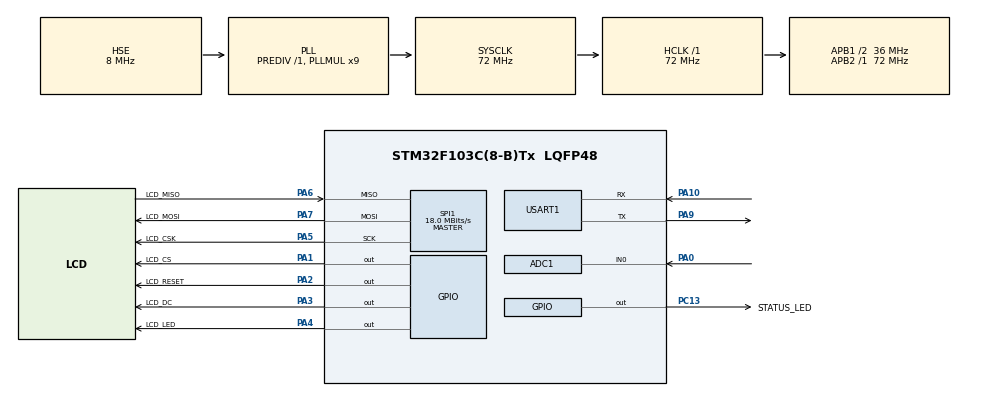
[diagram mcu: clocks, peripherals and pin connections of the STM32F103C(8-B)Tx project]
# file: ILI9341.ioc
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ADC1.Channel-0\#ChannelRegularConversion=ADC_CHANNEL_0
ADC1.ContinuousConvMode=DISABLE
ADC1.DataAlign=ADC_DATAALIGN_RIGHT
ADC1.DiscontinuousConvMode=DISABLE
ADC1.EnableAnalogWatchDog=false
ADC1.EnableRegularConversion=ENABLE
ADC1.ExternalTrigConv=ADC_EXTERNALTRIGCONV_T3_TRGO
ADC1.InjNumberOfConversion=0
ADC1.NbrOfConversion=1
ADC1.NbrOfConversionFlag=1
ADC1.Rank-0\#ChannelRegularConversion=1
ADC1.SamplingTime-0\#ChannelRegularConversion=ADC_SAMPLETIME_1CYCLE_5
ADC1.ScanConvMode=ADC_SCAN_DISABLE
ADC1.master=1
Dma.Request0=SPI1_TX
Dma.SPI1_TX.0.Direction=DMA_MEMORY_TO_PERIPH
Dma.SPI1_TX.0.Instance=DMA1_Channel3
Dma.SPI1_TX.0.MemDataAlignment=DMA_MDATAALIGN_BYTE
Dma.SPI1_TX.0.MemInc=DMA_MINC_ENABLE
Dma.SPI1_TX.0.Mode=DMA_NORMAL
Dma.SPI1_TX.0.PeriphDataAlignment=DMA_PDATAALIGN_BYTE
Dma.SPI1_TX.0.PeriphInc=DMA_PINC_DISABLE
Dma.SPI1_TX.0.Priority=DMA_PRIORITY_HIGH
Mcu.Family=STM32F1
Mcu.Name=STM32F103C(8-B)Tx
Mcu.Package=LQFP48
NVIC.DMA1_Channel3_IRQn=true\:0\:0\:false\:false\:true
NVIC.PriorityGroup=NVIC_PRIORITYGROUP_4
NVIC.TIM3_IRQn=true\:0\:0\:false\:false\:true
PA0-WKUP.Signal=ADCx_IN0
PA1.GPIO_Label=LCD_CS
PA1.Signal=GPIO_Output
PA10.Mode=Asynchronous
PA10.Signal=USART1_RX
PA13.Mode=Serial_Wire
PA13.Signal=SYS_JTMS-SWDIO
PA14.Mode=Serial_Wire
PA14.Signal=SYS_JTCK-SWCLK
PA2.GPIO_Label=LCD_RESET
PA2.PinState=GPIO_PIN_RESET
PA2.Signal=GPIO_Output
PA3.GPIO_Label=LCD_DC
PA3.PinState=GPIO_PIN_RESET
PA3.Signal=GPIO_Output
PA4.GPIO_Label=LCD_LED
PA4.Signal=GPIO_Output
PA5.GPIO_Label=LCD_CSK
PA5.Mode=Full_Duplex_Master
PA5.Signal=SPI1_SCK
PA6.GPIO_Label=LCD_MISO
PA6.Mode=Full_Duplex_Master
PA6.Signal=SPI1_MISO
PA7.GPIO_Label=LCD_MOSI
PA7.Mode=Full_Duplex_Master
PA7.Signal=SPI1_MOSI
PA9.Mode=Asynchronous
PA9.Signal=USART1_TX
PC13-TAMPER-RTC.GPIO_Label=STATUS_LED
PC13-TAMPER-RTC.Signal=GPIO_Output
PD0-OSC_IN.Mode=HSE-External-Oscillator
PD0-OSC_IN.Signal=RCC_OSC_IN
PD1-OSC_OUT.Mode=HSE-External-Oscillator
PD1-OSC_OUT.Signal=RCC_OSC_OUT
ProjectManager.HeapSize=0x200
ProjectManager.StackSize=0x400
ProjectManager.TargetToolchain=Makefile
RCC.ADCPresc=RCC_ADCPCLK2_DIV6
RCC.AHBFreq_Value=72000000
RCC.APB1CLKDivider=RCC_HCLK_DIV2
RCC.APB1Freq_Value=36000000
RCC.APB1TimFreq_Value=72000000
RCC.APB2Freq_Value=72000000
RCC.APB2TimFreq_Value=72000000
RCC.HCLKFreq_Value=72000000
RCC.PLLMUL=RCC_PLL_MUL9
RCC.PLLSourceVirtual=RCC_PLLSOURCE_HSE
RCC.SYSCLKFreq_VALUE=72000000
RCC.SYSCLKSource=RCC_SYSCLKSOURCE_PLLCLK
RCC.USBFreq_Value=72000000
SH.ADCx_IN0.0=ADC1_IN0,IN0
SPI1.BaudRatePrescaler=SPI_BAUDRATEPRESCALER_4
SPI1.CalculateBaudRate=18.0 MBits/s
SPI1.Direction=SPI_DIRECTION_2LINES
SPI1.Mode=SPI_MODE_MASTER
SPI1.VirtualType=VM_MASTER
TIM3.Period=10
TIM3.Prescaler=72-1
TIM3.TIM_MasterOutputTrigger=TIM_TRGO_UPDATE
USART1.VirtualMode=VM_ASYNC
VP_TIM3_VS_ClockSourceINT.Mode=Internal
board=ILI9341

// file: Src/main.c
#include "main.h"
#include "stm32f1xx_hal.h"
#include "adc.h"
#include "dma.h"
#include "spi.h"
#include "tim.h"
#include "usart.h"
#include "gpio.h"

/* USER CODE BEGIN Includes */
#include <math.h>
#include "ILI9341.h"

#define M_PI 3.14159

void stled_on(void)
{
  HAL_GPIO_WritePin(STATUS_LED_GPIO_Port, STATUS_LED_Pin, GPIO_PIN_SET);
}

void stled_off(void)
{
  HAL_GPIO_WritePin(STATUS_LED_GPIO_Port, STATUS_LED_Pin, GPIO_PIN_RESET);
}

/* USER CODE END Includes */

/* USER CODE BEGIN PV */
/* Private variables ---------------------------------------------------------*/

/* USER CODE END PV */

void SystemClock_Config(void);

/* USER CODE BEGIN PFP */
/* Private function prototypes -----------------------------------------------*/

/* USER CODE END PFP */

int main(void)
{

  /* USER CODE BEGIN 1 */
  uint32_t adcResult = 0;
  uint16_t adc_counter = 0;
  uint16_t coord_x[320];
  uint16_t coord_y[320];
  /* USER CODE END 1 */

  /* MCU Configuration----------------------------------------------------------*/

  /* Reset of all peripherals, Initializes the Flash interface and the Systick. */
  HAL_Init();

  /* Configure the system clock */
  SystemClock_Config();

  /* Initialize all configured peripherals */
  MX_GPIO_Init();
  MX_DMA_Init();
  MX_SPI1_Init();
  MX_USART1_UART_Init();
  MX_ADC1_Init();
  MX_TIM3_Init();

  /* USER CODE BEGIN 2 */
  lcd_reset();
  HAL_GPIO_WritePin(GPIOA, LCD_LED_Pin, GPIO_PIN_SET);
  ILI9341_begin(&hspi1);

  ILI9341_setRotation(0); // clear display & draw grid
  ILI9341_fillScreen(ILI9341_BLACK);
  ILI9341_setRotation(3);
  ILI9341_fillScreen(ILI9341_BLACK);
  for(uint16_t i = 5; i<315; i+=30) ILI9341_drawLine( i, 5, i, 235, ILI9341_WHITE);
  for(uint16_t i = 5; i<315; i+=30) ILI9341_drawLine( 5, i, 315, i, ILI9341_WHITE);

  /* USER CODE END 2 */

  /* Infinite loop */
  /* USER CODE BEGIN WHILE */
  HAL_TIM_Base_Init(&htim3);
  HAL_TIM_PeriodElapsedCallback(&htim3);
  HAL_TIM_Base_Start_IT(&htim3); //запустим таймер
  HAL_ADC_Start(&hadc1);//запустим аналогово-цифровое преобразование
  while (1)
  {
  /* USER CODE END WHILE */

  /* USER CODE BEGIN 3 */
    for(uint16_t i = 0; i < 320; i++) // clear display & redraw grid
    {
      if(i>318)
      {
        for(uint16_t i = 0; i < 320; i++)
        {
         ILI9341_drawLine(coord_x[i], coord_y[i],   coord_x[i-1], coord_y[i-1], ILI9341_BLACK); // (  x0,y0,x1,y1,color);
        }
        //ILI9341_fillScreen(ILI9341_BLACK);
        for(uint16_t i = 5; i<315; i+=30)
        {
          ILI9341_drawLine( i, 5, i, 235, ILI9341_WHITE);
        }
        for(uint16_t i = 5; i<315; i+=30)
        {
          ILI9341_drawLine( 5, i, 315, i, ILI9341_WHITE);
        }
      }

      while(adc_counter < 125) // Пока количество измерений меньше N
      {
        adcResult += HAL_ADC_GetValue(&hadc1);
        adc_counter++; // Увеличиваем счетчик измерений
      }
      coord_x[i] = i;
      coord_y[i] = 230-adcResult/adc_counter/18; // Вычисляем среднее значение
      adcResult = 0; // Обнуляем значение
      adc_counter = 0; // Обнуляем счетчик измерений

      if(i)
      {
        ILI9341_drawLine(coord_x[i], coord_y[i],   coord_x[i-1], coord_y[i-1], ILI9341_GREEN); //(  x0,y0,x1,y1,color);
      }
       HAL_Delay(10);

    }
  }
  /* USER CODE END 3 */

}

/** System Clock Configuration
*/
void SystemClock_Config(void)
{

  RCC_OscInitTypeDef RCC_OscInitStruct;
  RCC_ClkInitTypeDef RCC_ClkInitStruct;
  RCC_PeriphCLKInitTypeDef PeriphClkInit;

    /**Initializes the CPU, AHB and APB busses clocks
    */
  RCC_OscInitStruct.OscillatorType = RCC_OSCILLATORTYPE_HSE;
  RCC_OscInitStruct.HSEState = RCC_HSE_ON;
  RCC_OscInitStruct.HSEPredivValue = RCC_HSE_PREDIV_DIV1;
  RCC_OscInitStruct.HSIState = RCC_HSI_ON;
  RCC_OscInitStruct.PLL.PLLState = RCC_PLL_ON;
  RCC_OscInitStruct.PLL.PLLSource = RCC_PLLSOURCE_HSE;
  RCC_OscInitStruct.PLL.PLLMUL = RCC_PLL_MUL9;
  if (HAL_RCC_OscConfig(&RCC_OscInitStruct) != HAL_OK)
  {
    _Error_Handler(__FILE__, __LINE__);
  }

    /**Initializes the CPU, AHB and APB busses clocks
    */
  RCC_ClkInitStruct.ClockType = RCC_CLOCKTYPE_HCLK|RCC_CLOCKTYPE_SYSCLK
                              |RCC_CLOCKTYPE_PCLK1|RCC_CLOCKTYPE_PCLK2;
  RCC_ClkInitStruct.SYSCLKSource = RCC_SYSCLKSOURCE_PLLCLK;
  RCC_ClkInitStruct.AHBCLKDivider = RCC_SYSCLK_DIV1;
  RCC_ClkInitStruct.APB1CLKDivider = RCC_HCLK_DIV2;
  RCC_ClkInitStruct.APB2CLKDivider = RCC_HCLK_DIV1;

  if (HAL_RCC_ClockConfig(&RCC_ClkInitStruct, FLASH_LATENCY_2) != HAL_OK)
  {
    _Error_Handler(__FILE__, __LINE__);
  }

  PeriphClkInit.PeriphClockSelection = RCC_PERIPHCLK_ADC;
  PeriphClkInit.AdcClockSelection = RCC_ADCPCLK2_DIV6;
  if (HAL_RCCEx_PeriphCLKConfig(&PeriphClkInit) != HAL_OK)
  {
    _Error_Handler(__FILE__, __LINE__);
  }

    /**Configure the Systick interrupt time
    */
  HAL_SYSTICK_Config(HAL_RCC_GetHCLKFreq()/1000);

    /**Configure the Systick
    */
  HAL_SYSTICK_CLKSourceConfig(SYSTICK_CLKSOURCE_HCLK);

  /* SysTick_IRQn interrupt configuration */
  HAL_NVIC_SetPriority(SysTick_IRQn, 0, 0);
}

/* USER CODE BEGIN 4 */
void HAL_TIM_PeriodElapsedCallback(TIM_HandleTypeDef *htim3)
{
  HAL_GPIO_TogglePin(GPIOC,GPIO_PIN_13);
}
/* USER CODE END 4 */

void _Error_Handler(char * file, int line)
{
  while(1)
  {
  }
}

/************************ (C) COPYRIGHT STMicroelectronics *****END OF FILE****/
